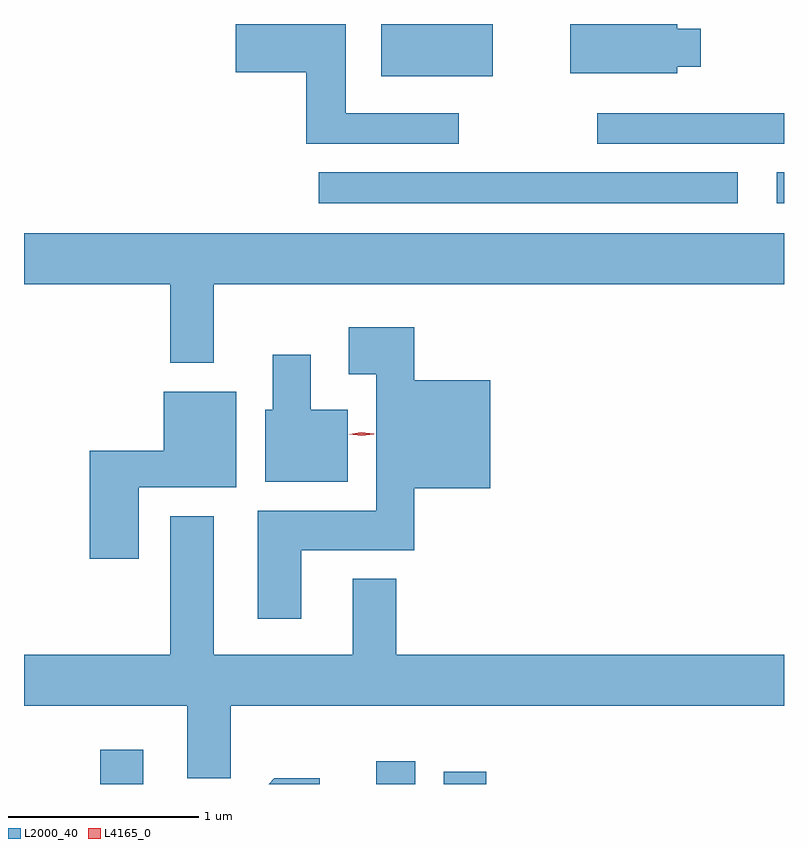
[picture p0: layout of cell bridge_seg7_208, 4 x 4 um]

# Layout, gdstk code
import gdstk
lib = gdstk.Library(unit=1e-6, precision=1e-09)
def R(c, l, rs):  # rectangles x0, y0, x1, y1
    for r in rs: c.add(gdstk.rectangle(r[:2], r[2:], *l))
def P(c, l, *ps):  # polygons
    for p in ps: c.add(gdstk.Polygon(p, *l))
L2000_40 = (2000, 40)
L4165_0 = (4165, 0)

bridge_seg7_208 = lib.new_cell('bridge_seg7_208')
R(bridge_seg7_208, L2000_40, [(1503.291,1696.145,1503.519,1696.324), (1504.746,1696.145,1504.949,1696.264), (1505.101,1696.145,1505.324,1696.209), (1504.443,1699.201,1506.648,1699.364), (1506.853,1699.201,1506.891,1699.364), (1505.908,1699.516,1506.891,1699.674), (1504.771,1699.871,1505.359,1700.145)])
P(bridge_seg7_208, L2000_40, [(1506.329,1699.921),(1506.454,1699.921),(1506.454,1700.119),(1506.329,1700.119),(1506.329,1700.145),(1505.766,1700.145),(1505.766,1699.886),(1506.329,1699.886)],
  [(1505.178,1699.674),(1504.584,1699.674),(1504.584,1700.145),(1504.006,1700.145),(1504.006,1699.891),(1504.376,1699.891),(1504.376,1699.516),(1505.178,1699.516)],
  [(1503.889,1698.776),(1506.891,1698.776),(1506.891,1699.044),(1502.891,1699.044),(1502.891,1698.776),(1503.661,1698.776),(1503.661,1698.361),(1503.889,1698.361)],
  [(1504.349,1697.376),(1504.944,1697.376),(1504.944,1697.701),(1505.344,1697.701),(1505.344,1698.269),(1504.944,1698.269),(1504.944,1698.549),(1504.601,1698.549),(1504.601,1698.301),(1504.746,1698.301),(1504.746,1697.584),(1504.121,1697.584),(1504.121,1697.016),(1504.349,1697.016)],
  [(1504.594,1698.114),(1504.399,1698.114),(1504.399,1698.404),(1504.201,1698.404),(1504.201,1698.114),(1504.161,1698.114),(1504.161,1697.736),(1504.594,1697.736)],
  [(1503.494,1697.706),(1504.009,1697.706),(1504.009,1698.209),(1503.626,1698.209),(1503.626,1697.899),(1503.236,1697.899),(1503.236,1697.331),(1503.494,1697.331)],
  [(1503.979,1696.556),(1506.891,1696.556),(1506.891,1696.824),(1504.849,1696.824),(1504.849,1697.224),(1504.621,1697.224),(1504.621,1696.824),(1503.889,1696.824),(1503.889,1697.554),(1503.661,1697.554),(1503.661,1696.824),(1502.891,1696.824),(1502.891,1696.556),(1503.751,1696.556),(1503.751,1696.176),(1503.979,1696.176)],
  [(1504.448,1696.174),(1504.209,1696.174),(1504.18,1696.145),(1504.448,1696.145)])
P(bridge_seg7_208, L4165_0, [(1504.668,1697.977),(1504.602,1697.986),(1504.601,1697.986),(1504.602,1697.987),(1504.667,1697.997),(1504.733,1697.988),(1504.734,1697.988),(1504.733,1697.987)])

lib.write_gds('bridge_seg7_208.gds')
